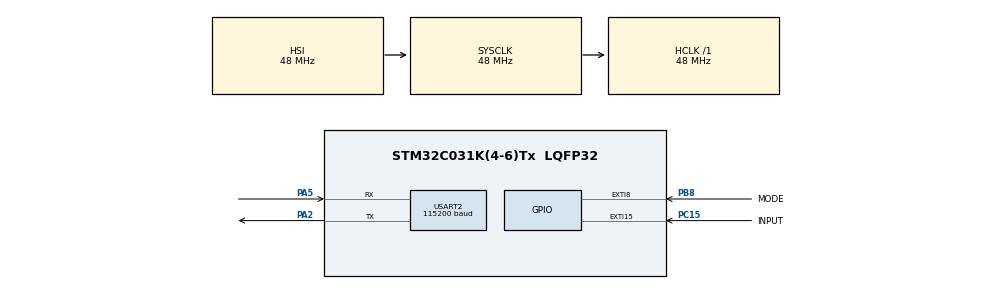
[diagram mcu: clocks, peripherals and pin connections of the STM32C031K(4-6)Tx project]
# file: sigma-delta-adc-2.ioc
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Dma.Request0=USART2_TX
Dma.USART2_TX.0.Direction=DMA_MEMORY_TO_PERIPH
Dma.USART2_TX.0.EventEnable=DISABLE
Dma.USART2_TX.0.Instance=DMA1_Channel1
Dma.USART2_TX.0.MemDataAlignment=DMA_MDATAALIGN_BYTE
Dma.USART2_TX.0.MemInc=DMA_MINC_ENABLE
Dma.USART2_TX.0.Mode=DMA_NORMAL
Dma.USART2_TX.0.PeriphDataAlignment=DMA_PDATAALIGN_BYTE
Dma.USART2_TX.0.PeriphInc=DMA_PINC_DISABLE
Dma.USART2_TX.0.Polarity=HAL_DMAMUX_REQ_GEN_RISING
Dma.USART2_TX.0.Priority=DMA_PRIORITY_VERY_HIGH
Dma.USART2_TX.0.RequestNumber=1
Dma.USART2_TX.0.SignalID=NONE
Dma.USART2_TX.0.SyncEnable=DISABLE
Dma.USART2_TX.0.SyncPolarity=HAL_DMAMUX_SYNC_NO_EVENT
Dma.USART2_TX.0.SyncRequestNumber=1
Dma.USART2_TX.0.SyncSignalID=NONE
Mcu.Family=STM32C0
Mcu.Name=STM32C031K(4-6)Tx
Mcu.Package=LQFP32
NVIC.DMA1_Channel1_IRQn=true\:0\:0\:false\:false\:true\:false\:true\:true
NVIC.EXTI4_15_IRQn=true\:0\:0\:false\:false\:true\:true\:true\:true
NVIC.TIM16_IRQn=true\:0\:0\:false\:false\:true\:true\:true\:true
NVIC.USART2_IRQn=true\:0\:0\:false\:false\:true\:true\:true\:true
PA13.Mode=Serial_Wire
PA13.Signal=DEBUG_SWDIO
PA14-BOOT0.Mode=Serial_Wire
PA14-BOOT0.Signal=DEBUG_SWCLK
PA2.Mode=Asynchronous
PA2.Signal=USART2_TX
PA5.Mode=Asynchronous
PA5.Signal=USART2_RX
PB8.GPIO_Label=MODE
PB8.GPIO_ModeDefaultEXTI=GPIO_MODE_IT_RISING_FALLING
PB8.GPIO_PuPd=GPIO_PULLUP
PB8.Signal=GPXTI8
PC15-OSCX_OUT\ (PC15).GPIO_Label=INPUT
PC15-OSCX_OUT\ (PC15).GPIO_ModeDefaultEXTI=GPIO_MODE_IT_RISING_FALLING
PC15-OSCX_OUT\ (PC15).Signal=GPXTI15
ProjectManager.HeapSize=0x200
ProjectManager.StackSize=0x400
ProjectManager.TargetToolchain=STM32CubeIDE
RCC.ADCFreq_Value=48000000
RCC.AHBFreq_Value=48000000
RCC.CortexFreq_Value=48000000
RCC.EXTERNAL_CLOCK_VALUE=12288000
RCC.HCLKFreq_Value=48000000
RCC.HSE_VALUE=8000000
RCC.HSISYSCLKDivider=RCC_HSI_DIV1
RCC.HSI_VALUE=48000000
RCC.LSE_VALUE=32768
RCC.SYSCLKFreq_VALUE=48000000
TIM16.Period=48000-1
TIM16.Prescaler=1-1
USART2.BaudRate=115200
USART2.Mode=MODE_TX_RX
USART2.VirtualMode-Asynchronous=VM_ASYNC
VP_TIM16_VS_ClockSourceINT.Mode=Enable_Timer
board=custom

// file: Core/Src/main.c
/* USER CODE BEGIN Header */
/**
  ******************************************************************************
  * @file           : main.c
  * @brief          : Main program body
  ******************************************************************************
  * @attention
  *
  * Copyright (c) 2025 STMicroelectronics.
  * All rights reserved.
  *
  * This software is licensed under terms that can be found in the LICENSE file
  * in the root directory of this software component.
  * If no LICENSE file comes with this software, it is provided AS-IS.
  *
  ******************************************************************************
  */
/* USER CODE END Header */
#include "main.h"

/* USER CODE BEGIN PD */
//misc
#define true 1
#define false 0
#define HIGH 1
#define LOW 0
#define IDLE 0
#define STARTED 1
#define AUTO 0
#define SINGLE 1

//ADC settings
#define MULTIPLIER 0.03343
#define OFFSET 2.432

//Auto mode
#define BUFFER_SIZE 1 //uint16_t only; wielkosc buffera
#define MAX_TIMER_IDLE 490 //w MS; ile czasu poświęca na odczytywanie jednego napiecia
//BUFFER_SIZE * MAX_TIMER_IDLE = czas na stabilny odczyt

//Signle mode
#define TIMER_TIME_SINGLE 100 //time for calculation in signle mode
/* USER CODE END PD */

TIM_HandleTypeDef htim16;

UART_HandleTypeDef huart2;
DMA_HandleTypeDef hdma_usart2_tx;

/* USER CODE BEGIN PV */
//for output
uint16_t RAW_VOLTAGE = 255; //real voltage = VOLTAGE / 100  //TODO 8t
uint8_t VOLTAGE = 255; //real voltage = VOLTAGE / 100  //TODO 8t
uint32_t dupa=0;

uint16_t timer_OVC=0; //timer overrun counter

uint16_t MAX_TIMER_OVERRUNS;

uint32_t counter=0;
uint32_t counter_high=0;
uint16_t time0=0;
uint16_t ovc0=0;
uint8_t state = IDLE;
uint8_t workingMode = AUTO;
uint8_t singleWorkingState = IDLE;
/* USER CODE END PV */

void SystemClock_Config(void);
static void MX_GPIO_Init(void);
static void MX_DMA_Init(void);
static void MX_USART2_UART_Init(void);
static void MX_TIM16_Init(void);
/* USER CODE BEGIN PFP */
void ENABLE_DEEP_SLEEP(void);
void EXIT_DEEP_SLEEP(void);
void SEND_VIA_UART(void);
void CALCULATION_COMPLETED(void);
/* USER CODE END PFP */

int main(void)
{

  /* MCU Configuration--------------------------------------------------------*/

  /* Reset of all peripherals, Initializes the Flash interface and the Systick. */
  HAL_Init();

  /* Configure the system clock */
  SystemClock_Config();

  /* Initialize all configured peripherals */
  MX_GPIO_Init();
  MX_DMA_Init();
  MX_USART2_UART_Init();
  MX_TIM16_Init();
  /* USER CODE BEGIN 2 */
  HAL_Delay(10); //for sake of safety

  //check if mode is single
  if(HAL_GPIO_ReadPin(MODE_GPIO_Port, MODE_Pin) == 0) // single mode
  {
	  MAX_TIMER_OVERRUNS = (uint16_t)((TIMER_TIME_SINGLE / 1000.0f) / (((TIM16->PSC + 1.0f) * (TIM16->ARR + 1.0f)) / 48000000.0f));
	  counter = MAX_TIMER_OVERRUNS * (TIM16->PSC+1) * (TIM16->ARR+1);
	  workingMode = SINGLE;
	  singleWorkingState = STARTED;
  }
  else if(HAL_GPIO_ReadPin(MODE_GPIO_Port, MODE_Pin) == 1) // auto mode
  {
	  MAX_TIMER_OVERRUNS = (uint16_t)((MAX_TIMER_IDLE / 1000.0f) / (((TIM16->PSC + 1.0f) * (TIM16->ARR + 1.0f)) / 48000000.0f));
  	  counter = MAX_TIMER_OVERRUNS * (TIM16->PSC+1) * (TIM16->ARR+1);
  	  workingMode = AUTO;
  }
  //__HAL_RCC_PWR_CLK_ENABLE(); //stop mode config //TODO
  HAL_Delay(10); //for sake of safety

  HAL_TIM_Base_Start_IT(&htim16);
  /* USER CODE END 2 */

  /* Infinite loop */
  while (1)
  {

  }
}

void SystemClock_Config(void)
{
  RCC_OscInitTypeDef RCC_OscInitStruct = {0};
  RCC_ClkInitTypeDef RCC_ClkInitStruct = {0};

  __HAL_FLASH_SET_LATENCY(FLASH_LATENCY_1);

  /** Initializes the RCC Oscillators according to the specified parameters
  * in the RCC_OscInitTypeDef structure.
  */
  RCC_OscInitStruct.OscillatorType = RCC_OSCILLATORTYPE_HSI;
  RCC_OscInitStruct.HSIState = RCC_HSI_ON;
  RCC_OscInitStruct.HSIDiv = RCC_HSI_DIV1;
  RCC_OscInitStruct.HSICalibrationValue = RCC_HSICALIBRATION_DEFAULT;
  if (HAL_RCC_OscConfig(&RCC_OscInitStruct) != HAL_OK)
  {
    Error_Handler();
  }

  /** Initializes the CPU, AHB and APB buses clocks
  */
  RCC_ClkInitStruct.ClockType = RCC_CLOCKTYPE_HCLK|RCC_CLOCKTYPE_SYSCLK
                              |RCC_CLOCKTYPE_PCLK1;
  RCC_ClkInitStruct.SYSCLKSource = RCC_SYSCLKSOURCE_HSI;
  RCC_ClkInitStruct.SYSCLKDivider = RCC_SYSCLK_DIV1;
  RCC_ClkInitStruct.AHBCLKDivider = RCC_HCLK_DIV1;
  RCC_ClkInitStruct.APB1CLKDivider = RCC_APB1_DIV1;

  if (HAL_RCC_ClockConfig(&RCC_ClkInitStruct, FLASH_LATENCY_1) != HAL_OK)
  {
    Error_Handler();
  }
}

static void MX_TIM16_Init(void)
{

  htim16.Instance = TIM16;
  htim16.Init.Prescaler = 1-1;
  htim16.Init.CounterMode = TIM_COUNTERMODE_UP;
  htim16.Init.Period = 48000-1;
  htim16.Init.ClockDivision = TIM_CLOCKDIVISION_DIV1;
  htim16.Init.RepetitionCounter = 0;
  htim16.Init.AutoReloadPreload = TIM_AUTORELOAD_PRELOAD_DISABLE;
  if (HAL_TIM_Base_Init(&htim16) != HAL_OK)
  {
    Error_Handler();
  }

}

static void MX_USART2_UART_Init(void)
{

  huart2.Instance = USART2;
  huart2.Init.BaudRate = 115200;
  huart2.Init.WordLength = UART_WORDLENGTH_8B;
  huart2.Init.StopBits = UART_STOPBITS_1;
  huart2.Init.Parity = UART_PARITY_NONE;
  huart2.Init.Mode = UART_MODE_TX_RX;
  huart2.Init.HwFlowCtl = UART_HWCONTROL_NONE;
  huart2.Init.OverSampling = UART_OVERSAMPLING_16;
  huart2.Init.OneBitSampling = UART_ONE_BIT_SAMPLE_DISABLE;
  huart2.Init.ClockPrescaler = UART_PRESCALER_DIV1;
  huart2.AdvancedInit.AdvFeatureInit = UART_ADVFEATURE_NO_INIT;
  if (HAL_UART_Init(&huart2) != HAL_OK)
  {
    Error_Handler();
  }

}

static void MX_DMA_Init(void)
{

  /* DMA controller clock enable */
  __HAL_RCC_DMA1_CLK_ENABLE();

  /* DMA interrupt init */
  /* DMA1_Channel1_IRQn interrupt configuration */
  HAL_NVIC_SetPriority(DMA1_Channel1_IRQn, 0, 0);
  HAL_NVIC_EnableIRQ(DMA1_Channel1_IRQn);

}

static void MX_GPIO_Init(void)
{
  GPIO_InitTypeDef GPIO_InitStruct = {0};

  /* GPIO Ports Clock Enable */
  __HAL_RCC_GPIOC_CLK_ENABLE();
  __HAL_RCC_GPIOA_CLK_ENABLE();
  __HAL_RCC_GPIOB_CLK_ENABLE();

  /*Configure GPIO pin : INPUT_Pin */
  GPIO_InitStruct.Pin = INPUT_Pin;
  GPIO_InitStruct.Mode = GPIO_MODE_IT_RISING_FALLING;
  GPIO_InitStruct.Pull = GPIO_NOPULL;
  HAL_GPIO_Init(INPUT_GPIO_Port, &GPIO_InitStruct);

  /*Configure GPIO pin : MODE_Pin */
  GPIO_InitStruct.Pin = MODE_Pin;
  GPIO_InitStruct.Mode = GPIO_MODE_IT_RISING_FALLING;
  GPIO_InitStruct.Pull = GPIO_PULLUP;
  HAL_GPIO_Init(MODE_GPIO_Port, &GPIO_InitStruct);

  /* EXTI interrupt init*/
  HAL_NVIC_SetPriority(EXTI4_15_IRQn, 0, 0);
  HAL_NVIC_EnableIRQ(EXTI4_15_IRQn);

}

/* USER CODE BEGIN 4 */
//====================================================================================================================================================================
//====================================================================================================================================================================
//====================================================================================================================================================================
/*	//TODO things
 * try to do digital read on EXTI???
deep sleep/light sleep cpu?
err show in console via uart?
*/

//nax lenght 1ms

//CCR3 - cos sie stalo
//CNT - clock counter

void HAL_GPIO_EXTI_Rising_Callback(uint16_t GPIO_Pin) //MODE pin was shorted with 3.3 => we are into manual mode
{
	if(GPIO_Pin == INPUT_Pin && state == IDLE && (workingMode == AUTO || singleWorkingState == STARTED))
	{
		time0 = TIM16->CNT;
		ovc0 = timer_OVC;
		state = STARTED;
	}

	if(GPIO_Pin == MODE_Pin && singleWorkingState == IDLE && workingMode == SINGLE)
	{
		EXIT_DEEP_SLEEP();
	}
}

void HAL_GPIO_EXTI_Falling_Callback(uint16_t GPIO_Pin) //MODE pin got release => we are going into auto mode
{
	if(GPIO_Pin == INPUT_Pin && state == STARTED && (workingMode == AUTO || singleWorkingState == STARTED))
	{
		counter_high = counter_high + (TIM16->CNT - time0) + (timer_OVC - ovc0)*TIM16->ARR;
		state = IDLE;
	}

	if(GPIO_Pin == MODE_Pin && singleWorkingState == IDLE && workingMode == SINGLE)
	{
		EXIT_DEEP_SLEEP();
	}

}

void HAL_TIM_PeriodElapsedCallback(TIM_HandleTypeDef* htim)
{
	if(htim->Instance == TIM16) //TIMER OVERFLOW
	{
		timer_OVC = timer_OVC + (workingMode == AUTO || singleWorkingState == STARTED);
		if(timer_OVC > MAX_TIMER_OVERRUNS) //every MAX_TIMER_IDLE run this
		{
			RAW_VOLTAGE=(uint32_t)(10000.0f*counter_high/counter); //raw but not voltage!

			counter_high=0;
			time0=0;
			timer_OVC=0;
			ovc0 = 0;
			state = IDLE;

			if(singleWorkingState == STARTED && workingMode == SINGLE)
			{
				singleWorkingState = IDLE;
			}

			CALCULATION_COMPLETED();
		}
	}
}

void CALCULATION_COMPLETED()
{
	//VOLTAGE
	int16_t v = MULTIPLIER*RAW_VOLTAGE+OFFSET;
	VOLTAGE = (v)*(v <= 255 && v >= 0) + (255)*(v > 255) + (0)*(v<0);
	SEND_VIA_UART(); //send info about readings via uart
}

void SEND_VIA_UART() //TODO //TODO //TODO
{
	static char uart_buffer[7];
    uart_buffer[0] = ((VOLTAGE / 100) % 10) + '0';
    uart_buffer[1] = '.';
    uart_buffer[2] = ((VOLTAGE / 10) % 10) + '0';
    uart_buffer[3] = (VOLTAGE % 10) + '0';
    uart_buffer[4] = 'v';
    uart_buffer[5] = '\r';
    uart_buffer[6] = '\n';

	if (huart2.gState == HAL_UART_STATE_READY)
	{
		HAL_UART_Transmit_DMA(&huart2, (uint8_t*)uart_buffer, 7);
	}
}

void HAL_UART_TxCpltCallback(UART_HandleTypeDef *huart)
{
    if(huart->Instance == USART2)
    {
		if(singleWorkingState == SINGLE) //go into deep sleep after uart if mode is single
		{
			singleWorkingState = IDLE;
			ENABLE_DEEP_SLEEP();
		}
    }
}

void ENABLE_DEEP_SLEEP() //on done calculations
{
	__HAL_DMA_DISABLE(&hdma_usart2_tx);
	HAL_UART_DeInit(&huart2);
	__HAL_RCC_USART2_CLK_DISABLE();

	HAL_TIM_Base_Stop_IT(&htim16);
	__HAL_RCC_TIM16_CLK_DISABLE();
	HAL_SuspendTick();

	//__HAL_RCC_PWR_CLK_ENABLE();
	//HAL_PWR_EnterSTOPMode(PWR_MAINREGULATOR_ON, PWR_STOPENTRY_WFI);
}

void EXIT_DEEP_SLEEP() //on falling edge
{
	singleWorkingState = STARTED;

	__HAL_RCC_TIM16_CLK_ENABLE();
	SystemClock_Config();
	HAL_ResumeTick();
	HAL_TIM_Base_Start_IT(&htim16);

	__HAL_RCC_USART2_CLK_ENABLE();
	MX_USART2_UART_Init();
	__HAL_DMA_ENABLE(&hdma_usart2_tx);
}
//====================================================================================================================================================================
//====================================================================================================================================================================
//====================================================================================================================================================================
/* USER CODE END 4 */

void Error_Handler(void)
{
  __disable_irq();
  while (1)
  {
  }
}
